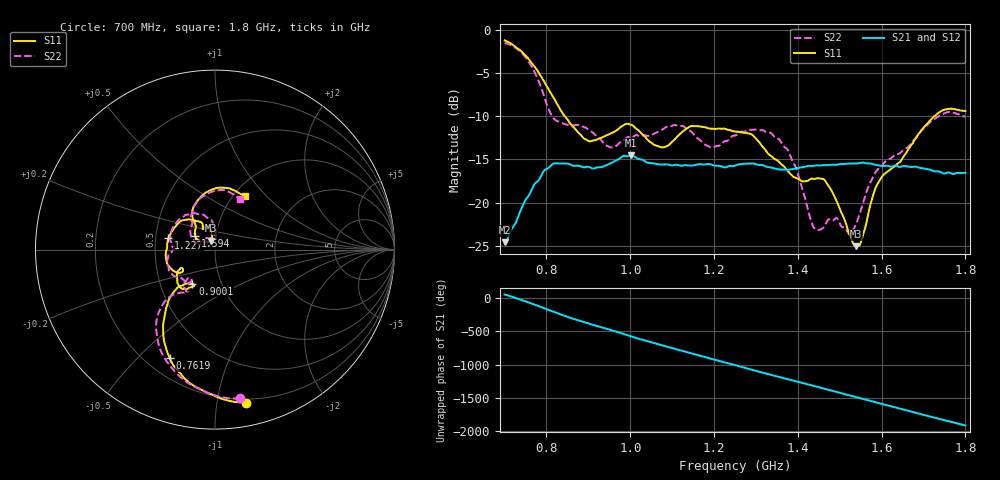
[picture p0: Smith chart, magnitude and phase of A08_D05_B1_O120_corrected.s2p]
! Created with skrf 1.9.0 (http://scikit-rf.org).
# Hz S RI R 50.0
!freq ReS11 ImS11 ReS21 ImS21 ReS12 ImS12 ReS22 ImS22
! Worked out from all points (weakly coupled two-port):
!   1601 points, 700 MHz to 1.8 GHz, reference 50 ohm
!   highest |S21| = -14.54 dB at 1.002 GHz (marker M1); lowest = -24.6 dB at 700 MHz (marker M2)
!   lowest |S11| = -25.0 dB at 1.538 GHz (marker M3), VSWR 1.12, Z = 47.4 + j4.8 ohm
!   |S11| at or under -10 dB: 843.6 MHz to 1.726 GHz (882.2 MHz wide, 68.7 % of centre)
!   |S22| runs from -23.7 to -1.5 dB; largest |S21 - S12| = 0.0035
!   S11 on the Smith chart (normalised r, x): 700 MHz: 0.17, -1.20; 761.9 MHz: 0.29, -0.63; 900.1 MHz: 0.73, -0.29; 1.227 GHz: 0.58, +0.08; 1.594 GHz: 0.79, +0.12; 1.8 GHz: 1.13, +0.75
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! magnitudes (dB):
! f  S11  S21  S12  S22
! 700 MHz  -1.2  -24.6  -24.4  -1.5
! 761.9 MHz  -3.7  -18.8  -18.7  -4.0
! 816.9 MHz  -7.9  -15.5  -15.6  -10.2
! 883.6 MHz  -12.3  -15.8  -15.7  -11.2
! 900.1 MHz  -12.9  -15.8  -15.9  -11.5
! 954.4 MHz  -12.0  -15.4  -15.4  -13.6
! 1.002 GHz  -11.0  -14.5  -14.6  -12.4
! 1.067 GHz  -13.5  -15.6  -15.5  -11.8
! 1.145 GHz  -11.1  -15.7  -15.7  -11.7
! 1.192 GHz  -11.4  -15.6  -15.6  -13.6
! 1.227 GHz  -11.5  -15.9  -15.9  -12.9
! 1.25 GHz  -11.8  -15.7  -15.6  -12.2
! 1.357 GHz  -15.4  -16.2  -16.1  -12.7
! 1.395 GHz  -17.1  -16.0  -16.0  -15.9
! 1.434 GHz  -17.2  -15.8  -15.7  -22.4
! 1.474 GHz  -18.1  -15.6  -15.6  -21.9
! 1.538 GHz  -25.0  -15.5  -15.5  -22.6
! 1.552 GHz  -24.4  -15.4  -15.4  -20.7
! 1.594 GHz  -17.5  -15.7  -15.7  -16.0
! 1.617 GHz  -16.3  -15.8  -15.7  -15.0
! 1.733 GHz  -9.7  -16.4  -16.4  -10.1
! 1.8 GHz  -9.4  -16.5  -16.5  -10.0
